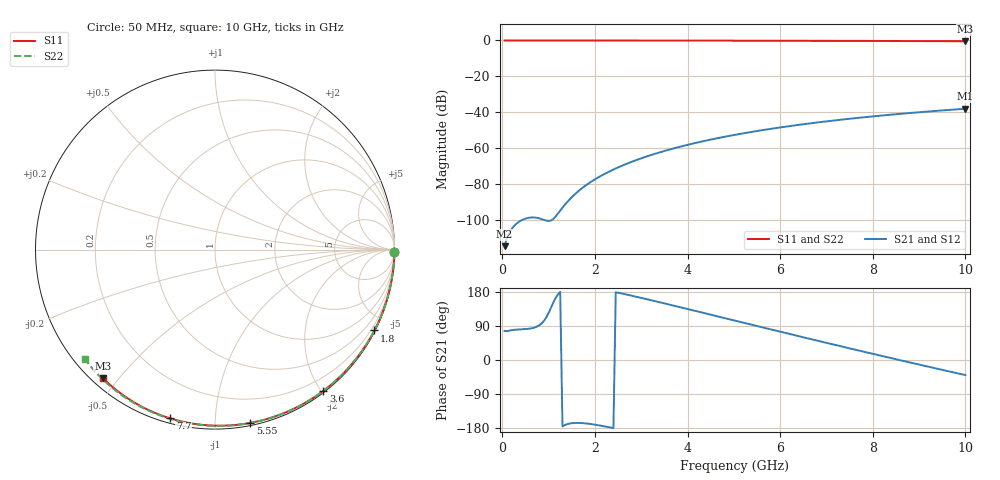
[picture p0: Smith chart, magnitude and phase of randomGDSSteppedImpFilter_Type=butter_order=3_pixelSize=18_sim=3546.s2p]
! freq	dB(S11)	phase(S11)	dB(S12)	phase(S12)
!  dB(S21)	phase(S21)	dB(S22)	phase(S22)
!S-par simulation data
#  GHz  S  DB  R 50
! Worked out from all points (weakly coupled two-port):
!   200 points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, 50 MHz to 10 GHz, reference 50 ohm
!   highest |S21| = -38.12 dB at 10 GHz (marker M1); lowest = -114.9 dB at 50 MHz (marker M2)
!   lowest |S11| = -0.4 dB at 10 GHz (marker M3), VSWR 39.24, Z = 1.54 - j22.7 ohm
!   |S11| at or under -10 dB: nowhere
!   |S22| runs from -0.5 to 0.0 dB; largest |S21 - S12| = 0
!   S11 on the Smith chart (normalised r, x): 50 MHz: open; 1.8 GHz: 0.04, -4.18; 3.6 GHz: 0.02, -2.02; 5.55 GHz: 0.02, -1.22; 7.7 GHz: 0.02, -0.77; 10 GHz: 0.03, -0.45
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0.05  -0.00 -0.8  -114.88 76.9  -114.88 76.9  -0.00 -0.8
0.45  -0.01 -6.8  -99.97 81.1  -99.97 81.1  -0.01 -7.3
0.9  -0.02 -13.6  -100.20 103.3  -100.20 103.3  -0.02 -14.5
1.75  -0.03 -26.1  -81.94 -166.8  -81.94 -166.8  -0.04 -27.9
1.8  -0.03 -26.9  -80.99 -167.3  -80.99 -167.3  -0.04 -28.7
1.85  -0.04 -27.6  -80.08 -168.0  -80.08 -168.0  -0.04 -29.5
2.15  -0.04 -32.0  -75.34 -173.7  -75.34 -173.7  -0.04 -34.1
2.35  -0.04 -34.9  -72.69 -178.5  -72.69 -178.5  -0.05 -37.2
2.55  -0.05 -37.8  -70.33 176.4  -70.33 176.4  -0.05 -40.3
2.95  -0.06 -43.5  -66.27 165.3  -66.27 165.3  -0.06 -46.4
3.4  -0.07 -49.8  -62.47 152.4  -62.47 152.4  -0.07 -53.1
3.6  -0.07 -52.6  -60.98 146.5  -60.98 146.5  -0.08 -56.0
3.9  -0.08 -56.7  -58.93 137.6  -58.93 137.6  -0.08 -60.4
4.3  -0.09 -62.1  -56.48 125.6  -56.48 125.6  -0.09 -66.2
5.05  -0.11 -72.1  -52.58 103.1  -52.58 103.1  -0.12 -76.7
5.55  -0.13 -78.5  -50.36 88.2  -50.36 88.2  -0.14 -83.6
6.1  -0.15 -85.5  -48.20 71.8  -48.20 71.8  -0.16 -91.0
6.7  -0.18 -92.9  -46.13 54.1  -46.13 54.1  -0.19 -98.8
7.7  -0.24 -104.9  -43.18 24.9  -43.18 24.9  -0.26 -111.6
8.35  -0.29 -112.4  -41.54 6.3  -41.54 6.3  -0.31 -119.7
9.2  -0.36 -122.2  -39.66 -17.7  -39.66 -17.7  -0.39 -130.2
10  -0.44 -131.2  -38.12 -39.9  -38.12 -39.9  -0.48 -140.1
